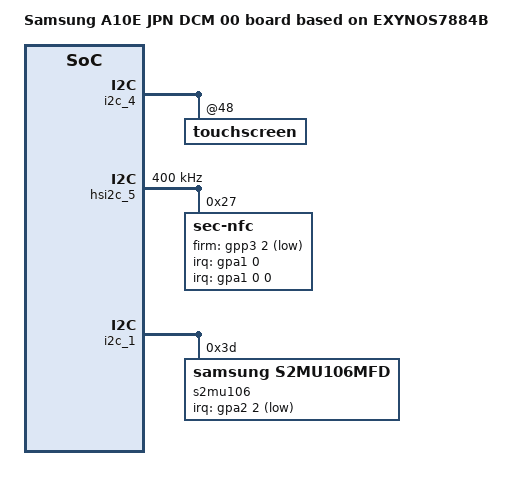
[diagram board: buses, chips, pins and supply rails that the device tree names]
/*
 * SAMSUNG EXYNOS7884B board device tree source

 *
 * Copyright (c) 2018 Samsung Electronics Co., Ltd.
 *		http://www.samsung.com
 *
 * This program is free software; you can redistribute it and/or modify
 * it under the terms of the GNU General Public License version 2 as
 * published by the Free Software Foundation.
*/

/dts-v1/;
/plugin/;

#include "exynos7884B-a10eve_common.dtsi"
#include "exynos7884B-a10e_jpn_dcm_gpio_00.dtsi"

/ {
	compatible = "samsung,A10E JPN DCM 00", "samsung,EXYNOS7884B";

	dtbo-hw_rev = <0>;
    dtbo-hw_rev_end = <0>;


	fragment@model {
		target-path = "/";
		__overlay__ {
			#address-cells = <2>;
			#size-cells = <1>;

			model = "Samsung A10E JPN DCM 00 board based on EXYNOS7884B";

			fm@14840000 {
				without_elna = <1>;
				num-trfon-freq = <56>;
				val-trfon-freq = <87500 87600 88300 88400 89000 89100 89800 89900
					90600 90700 91300 91400 92100 92200 92900 93000 93600 93700
					94400 94500 95200 95300 96700 96800 97500 97600 98300 98400 99000 99800 99900 99100
					100000 100600 100700 101300 101400 101500 101600 102100 102200 102900 103000 103600
					103700 104000 104400 104500 105200 105300 105900 106000 106700 106800 107500 107600 >;
				spur-trfon-freq = <1536>;
			};

		}; /* end of __overlay__ */
	}; /* end of fragment */
}; /* end of root */

&i2c_4 {
	touchscreen@48 {
		status = "okay";
	};
};

&pinctrl_0 { //11CB0000
	nfc_clk: nfc-clk {
		samsung,pins = "gpq0-0";
		samsung,pin-function = <2>;
		samsung,pin-pud = <0>;
	};

	nfc_int: nfc-int {
		samsung,pins = "gpa1-0";
		samsung,pin-function = <0>;
		samsung,pin-pud = <1>;
	};
};

&pinctrl_3 { //139B0000
	nfc_pvdd_en: nfc_pvdd_en {
		samsung,pins = "gpp6-4";
		samsung,pin-function = <1>;
		samsung,pin-pud = <0>;
		samsung,pin-val = <0>;
		samsung,pin-con-pdn = <3>;
		samsung,pin-pud-pdn = <0>;
	};

	nfc_firm: nfc_firm {
		samsung,pins = "gpp3-2";
		samsung,pin-function = <1>;
		samsung,pin-pud = <0>;
		samsung,pin-val = <0>;
		samsung,pin-con-pdn = <3>;
		samsung,pin-pud-pdn = <0>;
	};

	nfc_pd: nfc_pd {
		samsung,pins = "gpp2-2";
		samsung,pin-function = <2>;
		samsung,pin-pud = <0>;
		samsung,pin-drv = <0>;
		samsung,pin-con-pdn = <3>;
		samsung,pin-pud-pdn = <0>;
	};

	nfc_clk_req: nfc_clk_req {
		samsung,pins = "gpp2-3";
		samsung,pin-function = <2>;
		samsung,pin-pud = <1>;
		samsung,pin-drv = <0>;
		samsung,pin-con-pdn = <3>;
		samsung,pin-pud-pdn = <0>;
	};
};

&hsi2c_5 {
	status = "okay";
	clock-frequency = <400000>;  /*   400 kHz  */
	sec-nfc@27{
		compatible = "sec-nfc";
		reg = <0x27>;

		interrupt-parent = <&gpa1>;
		interrupts = <0 0 0>;

		sec-nfc,nfc_pd = <&gpp2 2 0x2>;
		sec-nfc,firm-gpio = <&gpp3 2 1>;
		sec-nfc,irq-gpio = <&gpa1 0 0>;
		sec-nfc,pvdd_en = <&gpp6 4 1>;
		clkctrl-reg = <0x11C8600C>;

		pinctrl-names = "default";
		pinctrl-0 = <&nfc_pd &nfc_firm &nfc_int &nfc_pvdd_en>;
	};
};

&i2c_1 {
	#address-cells = <1>;
	#size-cells = <0>;
	status = "okay";
	samsung,i2c-max-bus-freq = <400000>;
	s2mu106@3D {
		status = "okay";
		compatible = "samsung,s2mu106mfd";
		reg = <0x3D>;
		pinctrl-names = "default";
		pinctrl-0 = <&if_pmic_irq>;
		s2mu106,irq-gpio = <&gpa2 2 1>;
		s2mu106,wakeup;
	};
};

/* FSYS */
&pinctrl_2 {//13430000
	sd0_cmd: sd0-cmd {
		samsung,pins = "gpf0-1";
		samsung,pin-function = <2>;
		samsung,pin-pud = <3>;
		samsung,pin-drv = <2>;
	};

	sd0_bus1: sd0-bus-width1 {
		samsung,pins = "gpf2-0";
		samsung,pin-function = <2>;
		samsung,pin-pud = <3>;
		samsung,pin-drv = <2>;
	};

	sd0_bus4: sd0-bus-width4 {
		samsung,pins = "gpf2-1", "gpf2-2", "gpf2-3";
		samsung,pin-function = <2>;
		samsung,pin-pud = <3>;
		samsung,pin-drv = <2>;
	};

	sd0_bus8: sd0-bus-width8 {
		samsung,pins = "gpf2-4", "gpf2-5", "gpf2-6", "gpf2-7";
		samsung,pin-function = <2>;
		samsung,pin-pud = <3>;
		samsung,pin-drv = <2>;
	};
};
